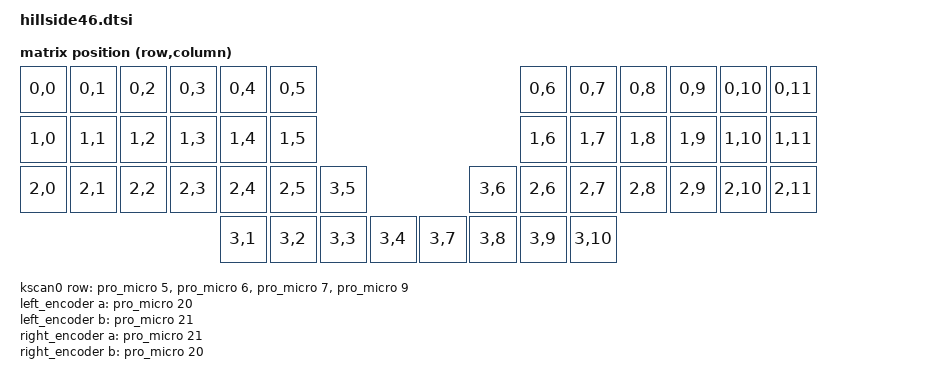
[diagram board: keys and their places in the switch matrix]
/*
 * Copyright (c) 2021-2022 The ZMK Contributors
 *
 * SPDX-License-Identifier: MIT
 */

#include <dt-bindings/zmk/matrix_transform.h>

/ {
    chosen {
        zmk,kscan = &kscan0;
        zmk,matrix_transform = &default_transform;
        zmk,physical-layout = &physical_layout;
    };

    default_transform: keymap_transform_0 {
        compatible = "zmk,matrix-transform";
        columns = <12>;
        rows = <4>;
// | SW1  | SW2  | SW3  | SW4  | SW5  | SW6  |                                   | SW6  | SW5  | SW4  | SW3  | SW2  | SW1  |
// | SW7  | SW8  | SW9  | SW10 | SW11 | SW12 |                                   | SW12 | SW11 | SW10 | SW9  | SW8  | SW7  |
// | SW13 | SW14 | SW15 | SW16 | SW17 | SW18 / SW19 /                     \ SW19 \ SW18 | SW17 | SW16 | SW15 | SW14 | SW13 |
//                         | SW20 / SW21 / SW22 / SW23 /               \ SW23 \ SW23 \ SW21 \ SW20 |
        map = <
RC(0,0) RC(0,1) RC(0,2) RC(0,3) RC(0,4) RC(0,5)                                   RC(0,6) RC(0,7) RC(0,8) RC(0,9) RC(0,10) RC(0,11)
RC(1,0) RC(1,1) RC(1,2) RC(1,3) RC(1,4) RC(1,5)                                   RC(1,6) RC(1,7) RC(1,8) RC(1,9) RC(1,10) RC(1,11)
RC(2,0) RC(2,1) RC(2,2) RC(2,3) RC(2,4) RC(2,5) RC(3,5)                   RC(3,6) RC(2,6) RC(2,7) RC(2,8) RC(2,9) RC(2,10) RC(2,11)
                                RC(3,1) RC(3,2) RC(3,3) RC(3,4)   RC(3,7) RC(3,8) RC(3,9) RC(3,10)
        >;
    };

    physical_layout: physical_layout {
        compatible = "zmk,physical-layout";
        display-name = "Default Layout";
        transform = <&default_transform>;
        kscan = <&kscan0>;
        keys
            = <&key_physical_attrs 100 100 0 0 0>
            , <&key_physical_attrs 100 100 0 100 0>
            , <&key_physical_attrs 100 100 0 200 0>
            , <&key_physical_attrs 100 100 0 300 0>
            , <&key_physical_attrs 100 100 0 400 0>
            , <&key_physical_attrs 100 100 0 500 0>
            , <&key_physical_attrs 100 100 0 800 0>
            , <&key_physical_attrs 100 100 0 900 0>
            , <&key_physical_attrs 100 100 0 1000 0>
            , <&key_physical_attrs 100 100 0 1100 0>
            , <&key_physical_attrs 100 100 0 1200 0>
            , <&key_physical_attrs 100 100 0 1300 0>
            , <&key_physical_attrs 100 100 100 0 0>
            , <&key_physical_attrs 100 100 100 100 0>
            , <&key_physical_attrs 100 100 100 200 0>
            , <&key_physical_attrs 100 100 100 300 0>
            , <&key_physical_attrs 100 100 100 400 0>
            , <&key_physical_attrs 100 100 100 500 0>
            , <&key_physical_attrs 100 100 100 800 0>
            , <&key_physical_attrs 100 100 100 900 0>
            , <&key_physical_attrs 100 100 100 1000 0>
            , <&key_physical_attrs 100 100 100 1100 0>
            , <&key_physical_attrs 100 100 100 1200 0>
            , <&key_physical_attrs 100 100 100 1300 0>
            , <&key_physical_attrs 100 100 200 0 0>
            , <&key_physical_attrs 100 100 200 100 0>
            , <&key_physical_attrs 100 100 200 200 0>
            , <&key_physical_attrs 100 100 200 300 0>
            , <&key_physical_attrs 100 100 200 400 0>
            , <&key_physical_attrs 100 100 200 500 0>
            , <&key_physical_attrs 100 100 200 600 0>
            , <&key_physical_attrs 100 100 200 700 0>
            , <&key_physical_attrs 100 100 200 800 0>
            , <&key_physical_attrs 100 100 200 900 0>
            , <&key_physical_attrs 100 100 200 1000 0>
            , <&key_physical_attrs 100 100 200 1100 0>
            , <&key_physical_attrs 100 100 200 1200 0>
            , <&key_physical_attrs 100 100 200 1300 0>
            , <&key_physical_attrs 100 100 300 300 0>
            , <&key_physical_attrs 100 100 300 400 0>
            , <&key_physical_attrs 100 100 300 500 0>
            , <&key_physical_attrs 100 100 300 600 0>
            , <&key_physical_attrs 100 100 300 700 0>
            , <&key_physical_attrs 100 100 300 800 0>
            , <&key_physical_attrs 100 100 300 900 0>
            , <&key_physical_attrs 100 100 300 1000 0>
            ;
    };

    kscan0: kscan {
        compatible = "zmk,kscan-gpio-matrix";
        label = "KSCAN";

        diode-direction = "col2row";
        row-gpios
            = <&pro_micro 5 (GPIO_ACTIVE_HIGH | GPIO_PULL_DOWN)>
            , <&pro_micro 6 (GPIO_ACTIVE_HIGH | GPIO_PULL_DOWN)>
            , <&pro_micro 7 (GPIO_ACTIVE_HIGH | GPIO_PULL_DOWN)>
            , <&pro_micro 9 (GPIO_ACTIVE_HIGH | GPIO_PULL_DOWN)>
            ;
        
    };

    left_encoder: encoder_left {
            compatible = "alps,ec11";
            label = "LEFT_ENCODER";
            a-gpios = <&pro_micro 20 (GPIO_ACTIVE_HIGH | GPIO_PULL_UP)>;
            b-gpios = <&pro_micro 21 (GPIO_ACTIVE_HIGH | GPIO_PULL_UP)>;
            resolution = <4>;
            status = "disabled";
        };

    right_encoder: encoder_right {
            compatible = "alps,ec11";
            label = "RIGHT_ENCODER";
            a-gpios = <&pro_micro 21 (GPIO_ACTIVE_HIGH | GPIO_PULL_UP)>;
            b-gpios = <&pro_micro 20 (GPIO_ACTIVE_HIGH | GPIO_PULL_UP)>;
            resolution = <4>;
            status = "disabled";
        };

    sensors {
            compatible = "zmk,keymap-sensors";
            sensors = <&left_encoder &right_encoder>;
        };
    
};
